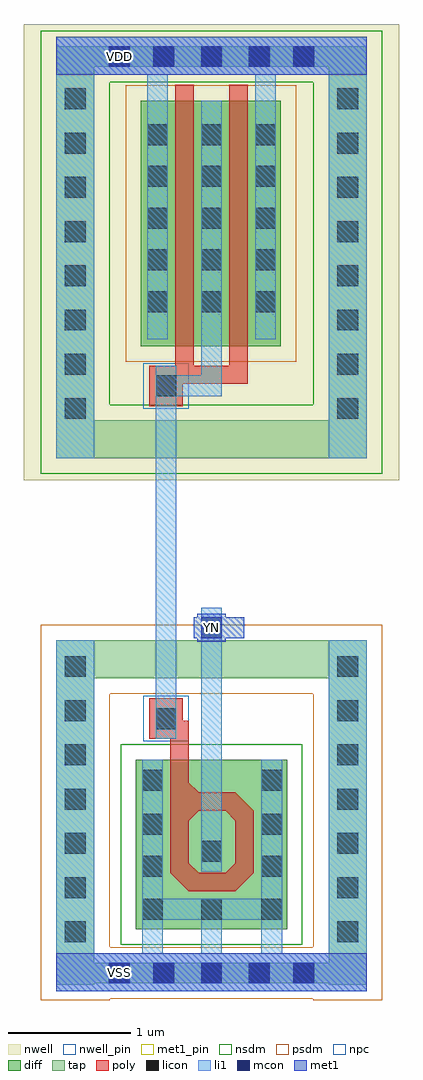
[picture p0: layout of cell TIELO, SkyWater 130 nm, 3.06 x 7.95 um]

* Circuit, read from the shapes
.subckt TIELO VDD VSS YN
XM1 VSS n1 YN VSS sky130_fd_pr__nfet_01v8 w=2.56 l=0.1498
XM2 n1 n1 VDD VDD sky130_fd_pr__pfet_01v8 w=2 l=0.15 m=2
.ends

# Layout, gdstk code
import gdstk
lib = gdstk.Library(unit=1e-6, precision=1e-09)
def R(c, l, rs):  # rectangles x0, y0, x1, y1
    for r in rs: c.add(gdstk.rectangle(r[:2], r[2:], *l))
def A(c, l, x, y, w, h, nx, ny, dx, dy):  # array of equal rectangles
    R(c, l, [(x+i*dx, y+j*dy, x+i*dx+w, y+j*dy+h) for i in range(nx) for j in range(ny)])
def P(c, l, *ps):  # polygons
    for p in ps: c.add(gdstk.Polygon(p, *l))
nwell_pin = (64, 16)
nwell = (64, 20)
diff = (65, 20)
tap = (65, 44)
poly = (66, 20)
licon = (66, 44)
li1 = (67, 20)
mcon = (67, 44)
met1_pin = (68, 16)
met1 = (68, 20)
nsdm = (93, 44)
psdm = (94, 20)
npc = (95, 20)

tielo = lib.new_cell('TIELO')
R(tielo, nwell_pin, [(0.275,7.525,0.445,7.695)])
R(tielo, nwell, [(-0.42,4.16,2.64,7.875)])
R(tielo, diff, [(0.495,0.505,1.725,1.885), (0.535,5.25,1.675,7.25)])
R(tielo, tap, [(-0.155,0.055,0.155,0.065), (2.065,0.055,2.375,0.065), (-0.155,0.065,2.375,0.235), (-0.155,0.235,0.155,2.55), (2.065,0.235,2.375,2.55), (-0.155,2.55,2.375,2.86), (-0.155,4.34,2.375,4.65), (-0.155,4.65,0.155,7.525), (2.065,4.65,2.375,7.525), (-0.155,7.525,2.375,7.695)])
R(tielo, poly, [(0.925,0.815,1.305,0.965), (0.775,0.965,0.925,1.47), (1.305,0.965,1.455,1.47), (0.775,1.47,1.305,1.62), (0.775,1.62,0.925,2.055), (0.605,2.055,0.925,2.205), (0.605,2.205,0.875,2.385), (0.605,4.765,0.875,4.945), (0.605,4.945,1.405,5.095), (0.815,5.095,0.965,7.38), (1.255,5.095,1.405,7.38)])
P(tielo, poly, [(0.925,1.7),(0.925,1.62),(1.005,1.62)],
  [(1.305,1.62),(1.305,1.47),(1.455,1.47)],
  [(0.925,1.39),(0.925,1.47),(1.005,1.47)],
  [(1.225,1.47),(1.305,1.47),(1.305,1.39)],
  [(0.925,1.045),(0.925,0.965),(1.005,0.965)],
  [(1.225,0.965),(1.305,0.965),(1.305,1.045)],
  [(0.775,0.965),(0.925,0.965),(0.925,0.815)],
  [(1.305,0.815),(1.305,0.965),(1.455,0.965)])
A(tielo, licon, 0.635, 0.065, 0.17, 0.17, 3, 2, 0.39, 7.46)
A(tielo, licon, -0.085, 0.4, 0.17, 0.17, 1, 7, 0, 0.36)
A(tielo, licon, 2.135, 0.4, 0.17, 0.17, 1, 7, 0, 0.36)
A(tielo, licon, -0.085, 4.66, 0.17, 0.17, 1, 8, 0, 0.36)
A(tielo, licon, 2.135, 4.66, 0.17, 0.17, 1, 8, 0, 0.36)
A(tielo, licon, 0.585, 5.53, 0.17, 0.17, 3, 5, 0.44, 0.34)
R(tielo, licon, [(0.275,0.065,0.445,0.235), (1.775,0.065,1.945,0.235), (0.545,0.585,0.715,0.755), (1.025,0.585,1.195,0.755), (1.515,0.585,1.685,0.755), (0.545,0.935,0.715,1.105), (1.515,0.935,1.685,1.105), (1.025,1.055,1.195,1.225), (0.545,1.275,0.715,1.445), (1.515,1.275,1.685,1.445), (0.545,1.635,0.715,1.805), (1.515,1.635,1.685,1.805), (0.655,2.135,0.825,2.305), (0.655,4.845,0.825,5.015), (0.275,7.525,0.445,7.695), (1.775,7.525,1.945,7.695)])
R(tielo, li1, [(-0.155,0,2.375,0.31), (-0.155,0.31,0.155,2.86), (0.545,0.31,0.715,0.585), (1.025,0.31,1.195,0.585), (1.515,0.31,1.685,0.585), (2.065,0.31,2.375,2.86), (0.545,0.585,1.685,0.755), (0.545,0.755,0.715,1.885), (1.515,0.755,1.685,1.885), (1.025,0.975,1.195,3.125), (0.655,2.055,0.825,4.845), (-0.155,4.34,0.155,7.46), (2.065,4.34,2.375,7.46), (0.655,4.845,1.195,5.015), (0.655,5.015,0.825,5.095), (1.025,5.015,1.195,7.25), (0.585,5.31,0.755,7.46), (1.465,5.31,1.635,7.46), (-0.155,7.46,2.375,7.77)])
A(tielo, mcon, 0.635, 0.065, 0.17, 0.17, 3, 2, 0.39, 7.46)
R(tielo, mcon, [(0.275,0.065,0.445,0.235), (1.775,0.065,1.945,0.235), (1.025,2.875,1.195,3.045), (0.275,7.525,0.445,7.695), (1.775,7.525,1.945,7.695)])
R(tielo, met1_pin, [(0.275,0.065,0.445,0.235), (1.025,2.875,1.195,3.045)])
R(tielo, met1, [(-0.155,0,2.375,0.31), (0.995,2.845,1.225,2.875), (0.965,2.875,1.375,3.045), (0.995,3.045,1.225,3.075), (-0.155,7.46,2.375,7.77)])
R(tielo, nsdm, [(0.37,0.38,1.85,2.01), (-0.28,4.215,2.5,4.775), (-0.28,4.775,0.28,7.4), (1.94,4.775,2.5,7.4), (-0.28,7.4,2.5,7.82)])
R(tielo, psdm, [(-0.28,-0.07,0.28,-0.06), (1.94,-0.07,2.5,-0.06), (-0.28,-0.06,2.5,0.36), (-0.28,0.36,0.28,2.425), (1.94,0.36,2.5,2.425), (-0.28,2.425,2.5,2.985), (0.41,5.125,1.8,7.375)])
R(tielo, npc, [(0.555,2.035,0.925,2.405), (0.555,4.745,0.925,5.115)])
tielo.add(gdstk.Label('YN', (1.11,2.96), layer=68, texttype=16))
tielo.add(gdstk.Label('VDD', (0.36,7.61), layer=64, texttype=16))
tielo.add(gdstk.Label('VSS', (0.36,0.15), layer=68, texttype=16))

lib.write_gds('TIELO.gds')
